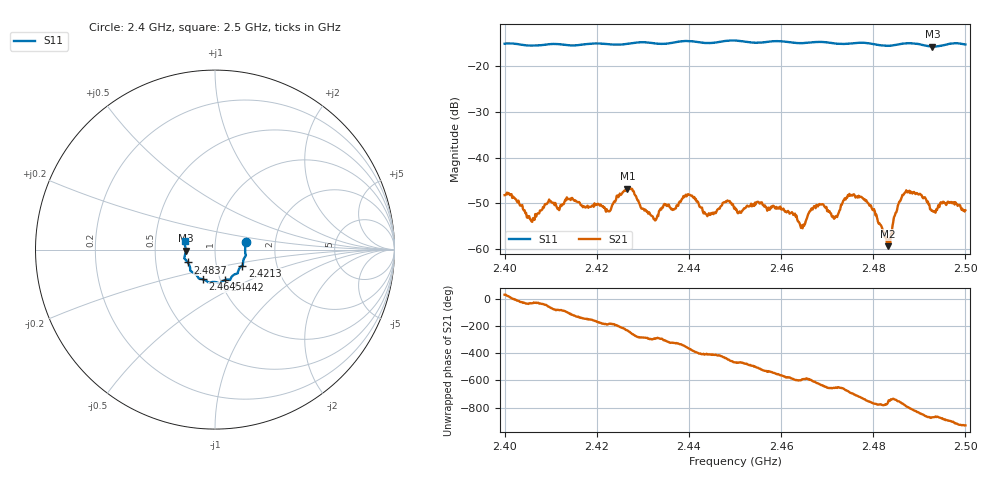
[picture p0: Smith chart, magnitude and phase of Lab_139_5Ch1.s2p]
# Hz S RI R 50
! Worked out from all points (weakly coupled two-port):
!   601 points, 2.4 GHz to 2.5 GHz, reference 50 ohm
!   highest |S21| = -46.76 dB at 2.4267 GHz (marker M1); lowest = -59.4 dB at 2.4832 GHz (marker M2)
!   lowest |S11| = -15.7 dB at 2.4928 GHz (marker M3), VSWR 1.39, Z = 36 - j0.379 ohm
!   |S11| at or under -10 dB: start of sweep to end of sweep
!   S12 and S22 are empty: the file has one direction only
!   S11 on the Smith chart (normalised r, x): 2.4 GHz: 1.41, +0.12; 2.4213 GHz: 1.33, -0.25; 2.4442 GHz: 1.05, -0.37; 2.4645 GHz: 0.83, -0.29; 2.4837 GHz: 0.73, -0.11; 2.5 GHz: 0.71, +0.07
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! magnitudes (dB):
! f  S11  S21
! 2.4 GHz  -15.1  -48.2
! 2.406 GHz  -15.5  -54.0
! 2.4097 GHz  -15.2  -49.1
! 2.4167 GHz  -15.3  -50.5
! 2.4213 GHz  -15.1  -50.6
! 2.4267 GHz  -15.1  -46.8
! 2.4333 GHz  -15.1  -52.8
! 2.4398 GHz  -14.5  -48.0
! 2.4442 GHz  -15.0  -52.5
! 2.45 GHz  -14.4  -50.9
! 2.4553 GHz  -14.9  -50.0
! 2.4645 GHz  -15.0  -54.8
! 2.4667 GHz  -14.8  -51.1
! 2.4717 GHz  -15.0  -53.2
! 2.4743 GHz  -15.1  -48.7
! 2.4773 GHz  -14.9  -48.6
! 2.4832 GHz  -15.6  -59.4
! 2.4833 GHz  -15.6  -59.0
! 2.4837 GHz  -15.5  -58.7
! 2.4868 GHz  -15.0  -47.7
! 2.4928 GHz  -15.7  -51.6
! 2.5 GHz  -15.3  -51.5
